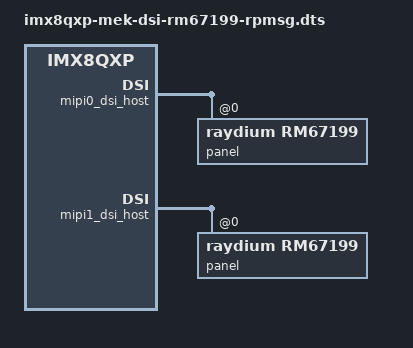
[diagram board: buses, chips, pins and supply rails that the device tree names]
// SPDX-License-Identifier: GPL-2.0+
/*
 * Copyright 2022 NXP
 */

/dts-v1/;

#include "imx8qxp-mek-rpmsg.dts"
#include "imx8qxp-mek-dsi-rm67191.dtsi"

&mipi0_dsi_host {
	panel@0 {
		compatible = "raydium,rm67199";
	};
};

&mipi1_dsi_host {
	panel@0 {
		compatible = "raydium,rm67199";
	};
};
